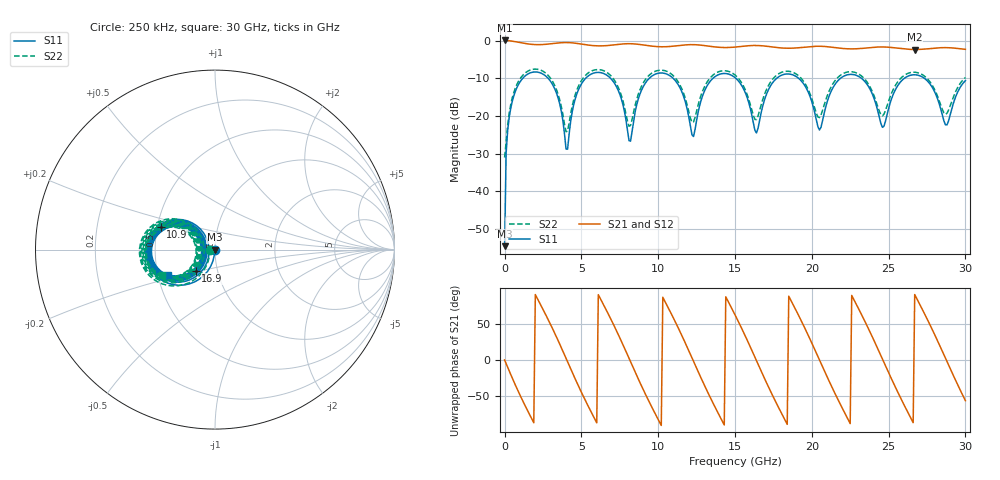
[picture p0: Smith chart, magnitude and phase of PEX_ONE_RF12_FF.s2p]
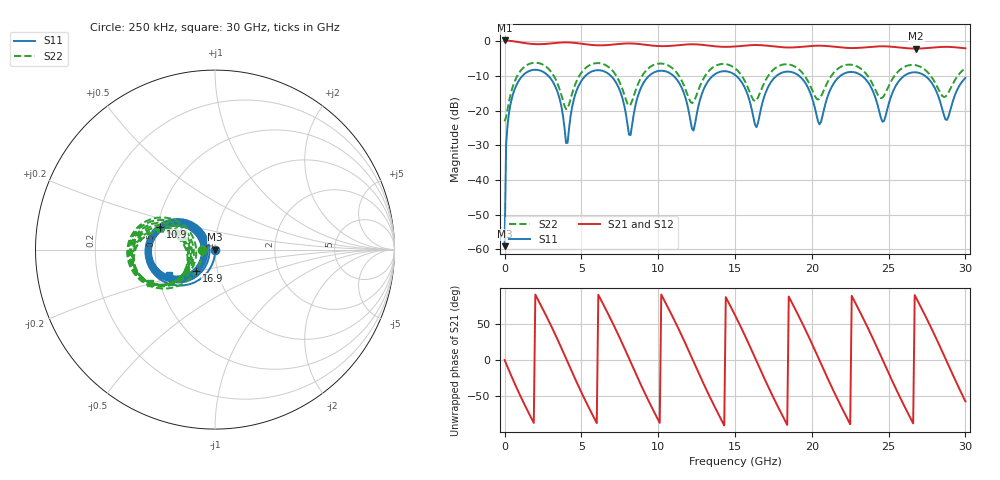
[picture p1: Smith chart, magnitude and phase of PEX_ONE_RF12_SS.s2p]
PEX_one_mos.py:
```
import matplotlib.pyplot as plt
import skrf as rf
from skrf import Network
import numpy as np


plt.rcParams["font.family"] = "Century Gothic"
plt.rcParams["font.size"] = "14"


SP_FF   = Network('SP/PEX_ONE_RF12_FF.s2p')
SP_SS   = Network('SP/PEX_ONE_RF12_SS.s2p')
SP_TT   = Network('SP/PEX_ONE_RF12_TT.s2p')
SP_Ideal =Network('SP/SP_Bad_Load.s2p')


S21_TT_db = 20*np.log10(SP_TT.s[:, 1, 0])
S21_FF_db = 20*np.log10(SP_FF.s[:, 1, 0])
S21_SS_db = 20*np.log10(SP_SS.s[:, 1, 0])
S21_Ideal_db = 20*np.log10(SP_Ideal.s[:, 1, 0])
F = SP_TT.f[:]
Error_FF = S21_Ideal_db-S21_FF_db
Error_SS = S21_Ideal_db-S21_SS_db
Error_TT = S21_Ideal_db-S21_TT_db


plt.figure()
plt.title("PEX")
plt.plot(F, -Error_SS, label='SS', linewidth ='3')
plt.plot(F, Error_TT, label='TT', linewidth ='3')
plt.plot(F, -Error_FF, label='FF', linewidth ='3')
plt.legend()
plt.xlabel('F, Гц')
plt.ylabel('Error, дБ')
plt.grid()

plt.figure()
plt.title("PEX")
SP_SS.plot_s_db(m=1-1, n=1-1, label='SS', linewidth ='3')
SP_TT.plot_s_db(m=1-1, n=1-1, label='TT', linewidth ='3')
SP_FF.plot_s_db(m=1-1, n=1-1, label='FF', linewidth ='3')
plt.xlabel('F, Гц')
plt.ylabel('S11, дБ')
plt.grid()

plt.figure()
plt.title("PEX")
SP_SS.plot_s_db(m=2-1, n=1-1, label='SS', linewidth ='3')
SP_TT.plot_s_db(m=2-1, n=1-1, label='TT', linewidth ='3')
SP_FF.plot_s_db(m=2-1, n=1-1, label='FF', linewidth ='3')
plt.xlabel('F, Гц')
plt.ylabel('S21, дБ')
plt.grid()


plt.show()
```
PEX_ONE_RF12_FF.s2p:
! Port 1 = P1 P2
! Port 2 = P2 P2
# hz S ri R 50
! freq  reS11  imS11  reS21  imS21  reS12  imS12  reS22  imS22
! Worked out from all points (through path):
!   301 points, 250 kHz to 30 GHz, reference 50 ohm
!   highest |S21| = 0.13 dB at 250 kHz (marker M1); lowest = -2.3 dB at 26.7 GHz (marker M2)
!   lowest |S11| = -54.7 dB at 250 kHz (marker M3), VSWR 1.00, Z = 49.8 - j0.00976 ohm
!   |S11| at or under -10 dB: 15.07 GHz to 17.7 GHz (2.634 GHz wide, 16.1 % of centre); 19.15 GHz to 21.86 GHz (2.702 GHz wide, 13.2 % of centre); 23.25 GHz to 26.01 GHz (2.764 GHz wide, 11.2 % of centre)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
!   |S22| runs from -31.0 to -7.5 dB; largest |S21 - S12| = 0
!   S11 on the Smith chart (normalised r, x): 250 kHz: 1.00, -0.00; 10.9 GHz: 0.52, +0.15; 16.9 GHz: 0.79, -0.19; 30 GHz: 0.57, -0.17
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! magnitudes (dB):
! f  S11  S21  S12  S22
! 250 kHz  -54.7  0.1  0.1  -31.0
! 200.2 MHz  -23.8  0.1  0.1  -22.4
! 1.2 GHz  -9.9  -0.6  -0.6  -9.1
! 4.1 GHz  -28.8  -0.4  -0.4  -24.0
! 5.5 GHz  -9.2  -1.1  -1.1  -8.4
! 8.2 GHz  -26.7  -0.7  -0.7  -22.5
! 10.9 GHz  -9.7  -1.4  -1.4  -9.0
! 15.1 GHz  -10.1  -1.6  -1.6  -9.4
! 16.9 GHz  -16.0  -1.3  -1.3  -14.5
! 26.7 GHz  -9.0  -2.3  -2.3  -8.3
! 30 GHz  -10.6  -2.2  -2.2  -9.7
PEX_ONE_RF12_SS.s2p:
! Port 1 = P1 P2
! Port 2 = P2 P2
# hz S ri R 50
! freq  reS11  imS11  reS21  imS21  reS12  imS12  reS22  imS22
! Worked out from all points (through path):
!   301 points, 250 kHz to 30 GHz, reference 50 ohm
!   highest |S21| = 0.22 dB at 250 kHz (marker M1); lowest = -2.1 dB at 26.8 GHz (marker M2)
!   lowest |S11| = -59.1 dB at 250 kHz (marker M3), VSWR 1.00, Z = 50.1 - j0.01 ohm
!   |S11| at or under -10 dB: 15.08 GHz to 17.7 GHz (2.617 GHz wide, 16 % of centre); 19.18 GHz to 21.86 GHz (2.681 GHz wide, 13.1 % of centre); 23.27 GHz to 26.01 GHz (2.737 GHz wide, 11.1 % of centre)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
!   |S22| runs from -23.1 to -6.2 dB; largest |S21 - S12| = 0
!   S11 on the Smith chart (normalised r, x): 250 kHz: 1.00, -0.00; 10.9 GHz: 0.52, +0.15; 16.9 GHz: 0.79, -0.19; 30 GHz: 0.57, -0.18
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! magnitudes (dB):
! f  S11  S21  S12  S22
! 250 kHz  -59.1  0.2  0.2  -23.1
! 200.2 MHz  -23.7  0.2  0.2  -19.4
! 1.2 GHz  -9.8  -0.5  -0.5  -7.7
! 4 GHz  -29.3  -0.3  -0.3  -19.6
! 5.5 GHz  -9.1  -1.0  -1.0  -7.0
! 10.9 GHz  -9.6  -1.3  -1.3  -7.7
! 12.3 GHz  -25.7  -0.9  -0.9  -17.5
! 15.1 GHz  -10.1  -1.5  -1.5  -8.2
! 16.9 GHz  -16.0  -1.2  -1.2  -12.1
! 26.8 GHz  -9.0  -2.1  -2.1  -7.0
! 30 GHz  -10.6  -2.0  -2.0  -7.8
